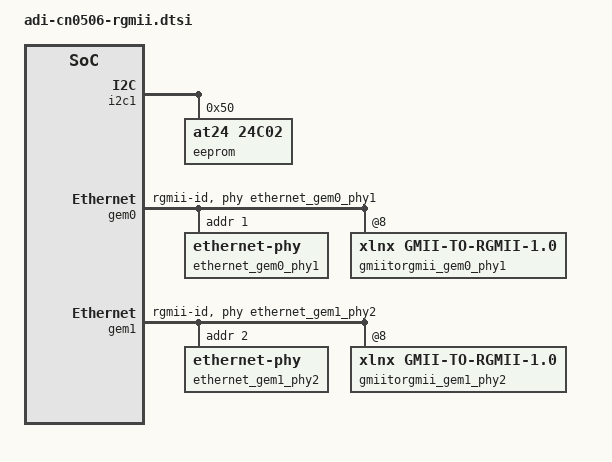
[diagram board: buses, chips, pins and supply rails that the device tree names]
&i2c1 {
	i2c-mux@75 {
		i2c@1 { /* HPC1 */
			#address-cells = <1>;
			#size-cells = <0>;
			reg = <1>;

			eeprom@50 {
				compatible = "at24,24c02";
				reg = <0x50>;
			};
		};
	};
};

&gem0 {
	status = "okay";
	phy-mode = "rgmii-id";
	phy-handle = <&ethernet_gem0_phy1>;

	ethernet_gem0_phy1: ethernet-phy@1 {
		reg = <1>;
	};

	gmiitorgmii_gem0_phy1: gmiitorgmii@8 {
		compatible = "xlnx,gmii-to-rgmii-1.0";
		reg = <8>;
		phy-handle = <&ethernet_gem0_phy1>;
	};
};

&gem1 {
	status = "okay";
	phy-mode = "rgmii-id";
	phy-handle = <&ethernet_gem1_phy2>;

	ethernet_gem1_phy2: ethernet-phy@2 {
		reg = <2>;
	};

	gmiitorgmii_gem1_phy2: gmiitorgmii@8 {
		compatible = "xlnx,gmii-to-rgmii-1.0";
		reg = <8>;
		phy-handle = <&ethernet_gem1_phy2>;
	};
};
